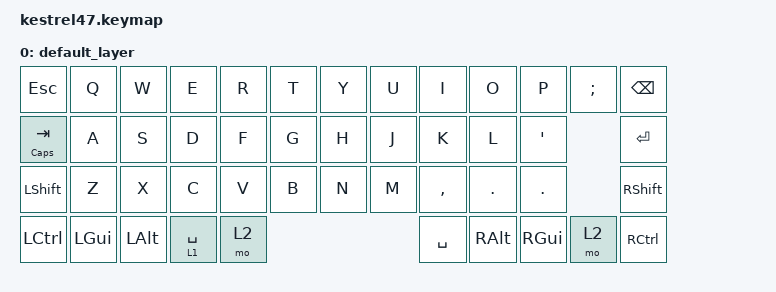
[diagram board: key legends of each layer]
/*
 * Copyright (c) 2020 The ZMK Contributors
 *
 * SPDX-License-Identifier: MIT
 */

#include <behaviors.dtsi>
#include <dt-bindings/zmk/keys.h>
#include <dt-bindings/zmk/bt.h>

/ {
	behaviors {
		ht: hold_tap {
			compatible = "zmk,behavior-hold-tap";
			label = "Hold Tap";
			#binding-cells = <2>;
			tapping-term-ms = <200>;
			flavor = "tap-preferred";
			bindings = <&kp>, <&kp>;
		};
	};

	keymap {
		compatible = "zmk,keymap";

		default_layer {
			bindings = <
&kp ESC      &kp Q    &kp W    &kp E       &kp R &kp T &kp Y &kp U    &kp I     &kp O    &kp P    &kp SEMI  &kp BSPC
&ht CAPS TAB &kp A    &kp S    &kp D       &kp F &kp G &kp H &kp J    &kp K     &kp L    &kp APOS           &kp RET
&kp LSHFT    &kp Z    &kp X    &kp C       &kp V &kp B &kp N &kp M    &kp COMMA &kp DOT  &kp DOT            &kp RSHFT
&kp LCTRL    &kp LGUI &kp LALT &lt 1 SPACE &mo 2             &kp SPACE &kp RALT  &kp RGUI &mo 2              &kp RCTRL
			>;
		};
	};
};
